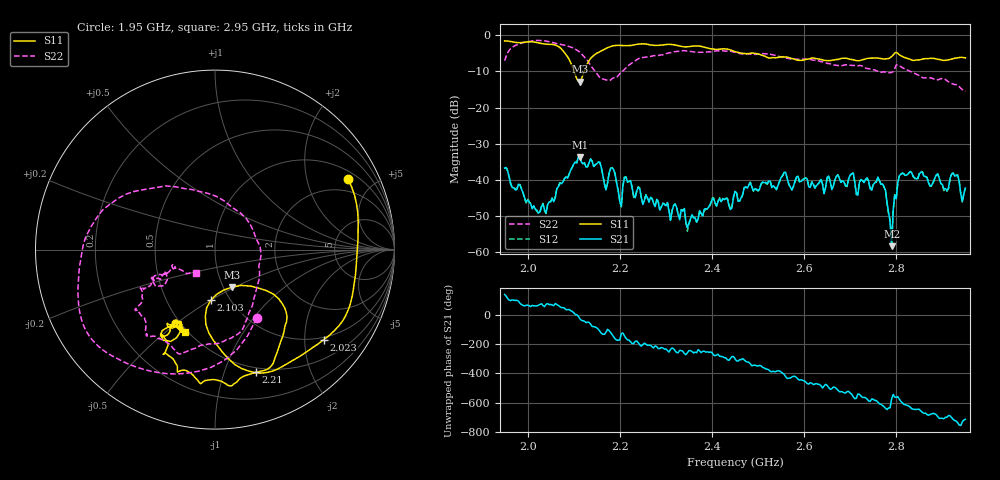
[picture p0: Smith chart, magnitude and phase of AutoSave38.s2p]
!Agilent N9923A: A.07.32
!Date: Thursday, 02 June 2016 23:33:39
!Model: N9923A
!Serial: MY52412257
!GPS Latitude:
!GPS Longitude:
!GPS TimeStamp: 0001-01-01 00:00:00Z
!GPS Seconds Since Last Read: 0
!CHECKSUM:0066352773
!Correction: S11(ON U)S21(ON U)S12(ON U)S22(ON U)
!S2P File: Measurements:S11,S21,S12,S22:
# Hz S DB R 50
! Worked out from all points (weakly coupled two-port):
!   301 points, 1.95 GHz to 2.95 GHz, reference 50 ohm
!   highest |S21| = -33.68 dB at 2.113 GHz (marker M1); lowest = -58.4 dB at 2.79 GHz (marker M2)
!   lowest |S11| = -12.8 dB at 2.113 GHz (marker M3), VSWR 1.60, Z = 54.9 - j24.2 ohm
!   |S11| at or under -10 dB: 2.101 GHz to 2.123 GHz (21.85 MHz wide, 1.03 % of centre)
!   |S22| runs from -15.5 to -1.4 dB; largest |S21 - S12| = 0.00057
!   S11 on the Smith chart (normalised r, x): 1.95 GHz: 1.35, +3.55; 2.023 GHz: 0.94, -2.47; 2.103 GHz: 0.82, -0.50; 2.21 GHz: 0.45, -1.29; 2.95 GHz: 0.48, -0.58
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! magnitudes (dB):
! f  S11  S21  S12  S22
! 1.95 GHz  -1.5  -36.8  -36.8  -7.0
! 2.023 GHz  -2.1  -49.2  -49.3  -1.4
! 2.103 GHz  -11.0  -35.1  -35.2  -3.8
! 2.113 GHz  -12.8  -33.7  -33.6  -4.7
! 2.12 GHz  -10.9  -35.6  -35.6  -5.6
! 2.157 GHz  -4.5  -35.2  -35.2  -11.7
! 2.17 GHz  -3.6  -42.8  -42.6  -12.3
! 2.183 GHz  -3.0  -36.7  -36.6  -12.0
! 2.203 GHz  -2.8  -47.4  -47.5  -10.3
! 2.21 GHz  -2.8  -39.4  -39.2  -9.5
! 2.287 GHz  -2.7  -48.4  -48.1  -5.5
! 2.34 GHz  -3.2  -48.0  -48.3  -4.2
! 2.347 GHz  -3.2  -53.3  -54.3  -4.4
! 2.453 GHz  -4.6  -43.7  -43.6  -4.8
! 2.62 GHz  -6.3  -41.3  -41.3  -6.9
! 2.717 GHz  -7.0  -44.3  -43.9  -8.4
! 2.76 GHz  -6.3  -39.3  -39.5  -10.0
! 2.783 GHz  -6.4  -49.0  -49.6  -10.4
! 2.79 GHz  -5.9  -58.4  -57.9  -10.3
! 2.797 GHz  -4.9  -44.3  -44.2  -9.2
! 2.81 GHz  -5.7  -38.5  -38.5  -8.7
! 2.95 GHz  -6.2  -42.3  -42.2  -15.5
